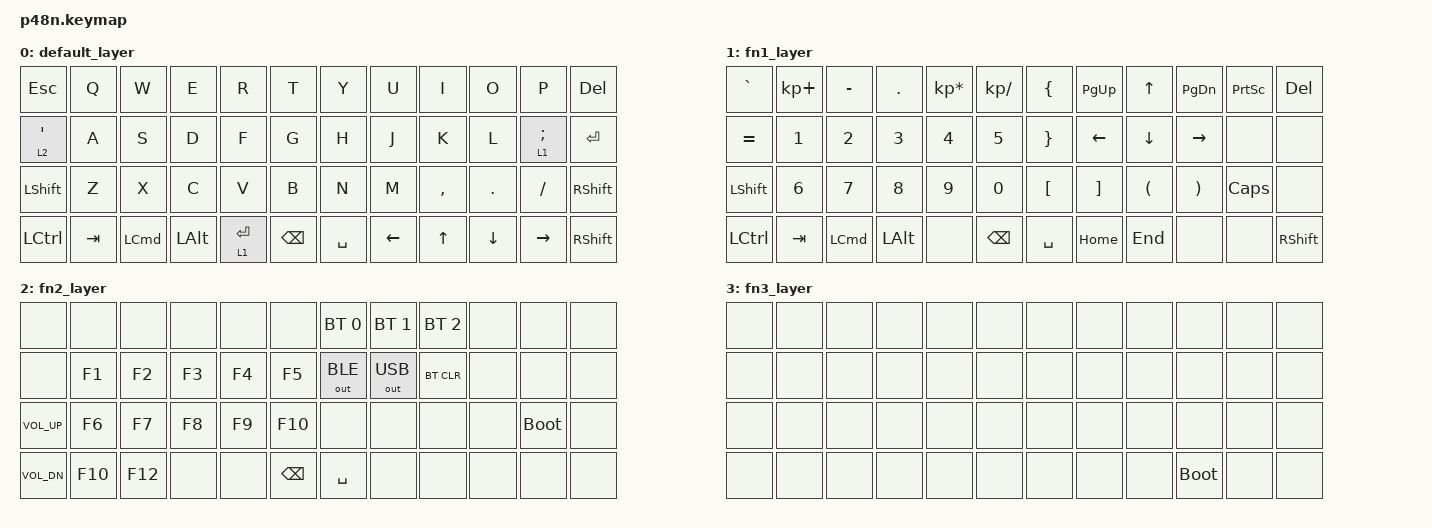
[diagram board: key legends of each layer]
/*
 * Copyright (c) 2020 The ZMK Contributors
 *
 * SPDX-License-Identifier: MIT
 */

#include <behaviors.dtsi>
#include <dt-bindings/zmk/keys.h>
#include <dt-bindings/zmk/rgb.h>
#include <dt-bindings/zmk/bt.h>
#include <dt-bindings/zmk/outputs.h>
#include <dt-bindings/zmk/ext_power.h>
#include <dt-bindings/zmk/mouse.h>

/ {
    macros {
        xtips: xtips {
            compatible = "zmk,behavior-macro";
            label = "XTIPS";
            #binding-cells = <0>;
            bindings = <&kp LS(X) &kp KP_DOT &kp LS(T) &kp I &kp P &kp S>;
            wait-ms = <1>;
            tap-ms = <1>;
        };
    };

    keymap {
        compatible = "zmk,keymap";

        default_layer {
            bindings = <
            &kp ESC      &kp Q        &kp W        &kp E         &kp R        &kp T     &kp Y      &kp U   &kp I        &kp O     &kp P      &kp DEL  
            &lt 2 APOS   &kp A        &kp S        &kp D         &kp F        &kp G     &kp H      &kp J   &kp K        &kp L     &lt 1 SEMI &kp RET 
            &kp LSHFT    &kp Z        &kp X        &kp C         &kp V        &kp B     &kp N      &kp M   &kp COMMA    &kp DOT   &kp SLASH  &kp RSHFT  
            &kp LCTRL    &kp TAB      &kp LCMD     &kp LALT      &lt 1 RET    &kp BSPC  &kp SPACE  &kp LEFT &kp UP      &kp DOWN  &kp RIGHT  &kp RSHFT
            >;
        };

        fn1_layer {
            bindings = <
            &kp GRAVE  &kp KP_PLUS  &kp MINUS    &kp DOT   &kp KP_MULTIPLY &kp KP_DIVIDE &kp LBRC  &kp PG_UP &kp UP      &kp PG_DN &kp PSCRN  &kp DEL  
            &kp EQUAL  &kp N1       &kp N2       &kp N3    &kp N4          &kp N5        &kp RBRC  &kp LEFT  &kp DOWN    &kp RIGHT &none      &none      
            &kp LSHFT  &kp N6       &kp N7       &kp N8    &kp N9          &kp N0        &kp LBKT  &kp RBKT  &kp LPAR    &kp RPAR  &kp CAPS   &none     
            &kp LCTRL  &kp TAB      &kp LCMD     &kp LALT  &none           &kp BSPC      &kp SPACE &kp HOME  &kp END     &none     &none      &kp RSHFT
            >;
        };

        fn2_layer {
            bindings = <
            &none        &none        &none      &none      &none        &none       &bt BT_SEL 0 &bt BT_SEL 1 &bt BT_SEL 2 &none    &none    &none        
            &none        &kp F1       &kp F2     &kp F3     &kp F4       &kp F5      &out OUT_BLE &out OUT_USB &bt BT_CLR   &none    &none    &none      
            &kp C_VOL_UP &kp F6       &kp F7     &kp F8     &kp F9       &kp F10     &none        &none        &none        &none    &bootloader    &none                
            &kp C_VOL_DN &kp F10      &kp F12    &none      &none        &kp BSPC    &kp SPACE    &none        &none        &none    &none    &none
            >;
        };

        fn3_layer {
            bindings = <
            &none   &none   &none   &none  &none   &none   &none   &none  &none   &none       &none   &none       
            &none   &none   &none   &none  &none   &none   &none   &none  &none   &none       &none   &none   
            &none   &none   &none   &none  &none   &none   &none   &none  &none   &none       &none   &none   
            &none   &none   &none   &none  &none   &none   &none   &none  &none   &bootloader &none   &none   
            >;
        };
    };
};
